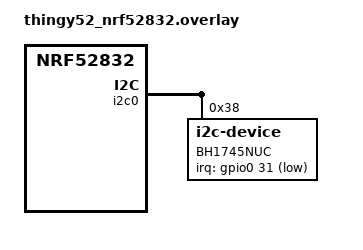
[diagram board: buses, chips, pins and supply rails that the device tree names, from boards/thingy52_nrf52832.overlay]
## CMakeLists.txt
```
# SPDX-License-Identifier: Apache-2.0

cmake_minimum_required(VERSION 3.21)

find_package(Zephyr REQUIRED HINTS $ENV{ZEPHYR_BASE})
project(color_sensor_i2c)

target_sources(app PRIVATE src/main.c)
```

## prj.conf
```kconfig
# Enable I2C
CONFIG_I2C=y
CONFIG_CBPRINTF_FP_SUPPORT=y
# Enable RTT as console backend for printf/printk output(if using thingy52).
# Disables UART as default console, so Zephyr doesn't try to use it for logs.
# Important because Thingy:52 does not expose a UART connector — UART logs won’t be visible.
CONFIG_RTT_CONSOLE=y
CONFIG_UART_CONSOLE=n
```

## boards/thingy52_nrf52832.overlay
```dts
&i2c0{
    bh1745nuc:bh1745nuc@38 {
        compatible = "i2c-device";
        reg = <0x38>;
		irq-gpios = <&gpio0 31 GPIO_ACTIVE_LOW>;
        label = "BH1745NUC";
    };
};
```

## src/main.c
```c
/* 
 * Copyright (c) 2025
 * GOKUL PRASANTH(GP😉) 
 * All rights reserved.
 */
#include <zephyr/kernel.h>
#include <zephyr/device.h>
#include <zephyr/drivers/i2c.h>
#include <zephyr/devicetree.h>
#include <zephyr/sys/printk.h>

#define SYSTEM_CONTROL 0x40
#define MODE_CONTROL1  0x41
#define MODE_CONTROL2  0x42
#define MODE_CONTROL3  0x44
#define RED_DATA_LSB   0x50

#define BH1745NUB_CONTROL1_DEFAULT  0x00
#define BH1745NUB_CONTROL2_DEFAULT  0x90
#define BH1745NUB_CONTROL3_DEFAULT  0x02

#define COLOR_SENSOR DT_NODELABEL(bh1745nuc)

int main(){
    //Initialize the I2C sensor
    static const struct i2c_dt_spec color_sensor_dev = I2C_DT_SPEC_GET(COLOR_SENSOR);
    if(!device_is_ready(color_sensor_dev.bus)){
        printk("Color sensor/I2C bus %s is not ready!\n\r", color_sensor_dev.bus->name);
        return -1;
    };
    
    int ret;

    char buff1[]={MODE_CONTROL1, BH1745NUB_CONTROL1_DEFAULT};
    ret = i2c_write_dt(&color_sensor_dev, buff1, sizeof(buff1));
    if(ret !=0){
        printk("Failed to write to I2C device address 0x%X at registor 0x%X\n",color_sensor_dev.addr, MODE_CONTROL1);
    }

    char buff2[]={MODE_CONTROL2, BH1745NUB_CONTROL2_DEFAULT};
    ret = i2c_write_dt(&color_sensor_dev, buff2, sizeof(buff2));
    if(ret !=0){
        printk("Failed to write to I2C device address 0x%X at registor 0x%X\n",color_sensor_dev.addr, MODE_CONTROL2);
    }

    char buff3[]={MODE_CONTROL3, BH1745NUB_CONTROL3_DEFAULT};
    ret = i2c_write_dt(&color_sensor_dev, buff3, sizeof(buff3));
    if(ret !=0){
        printk("Failed to write to I2C device address 0x%X at Reg. 0x%X\n",color_sensor_dev.addr, MODE_CONTROL2);
    }

    while(1){
        uint8_t rgb_val[6]={0};
        ret = i2c_burst_read_dt(&color_sensor_dev, RED_DATA_LSB, rgb_val, sizeof(rgb_val));
        if(ret!=0){
            printk("Failed to read to I2C device address 0x%c at Reg. 0x%c\n",color_sensor_dev.addr, RED_DATA_LSB);
        }
        uint16_t red_value   = rgb_val[0] | (rgb_val[1] << 8);
        uint16_t green_value = rgb_val[2] | (rgb_val[3] << 8);
        uint16_t blue_value  = rgb_val[4] | (rgb_val[5] << 8);

        printk("___________________________________\n");
        printk("Red Value: %d\n",   red_value);
        printk("Green Value: %d\n", green_value);
        printk("Blue Value: %d\n",  blue_value);
    }
    return 0;
} 
```
